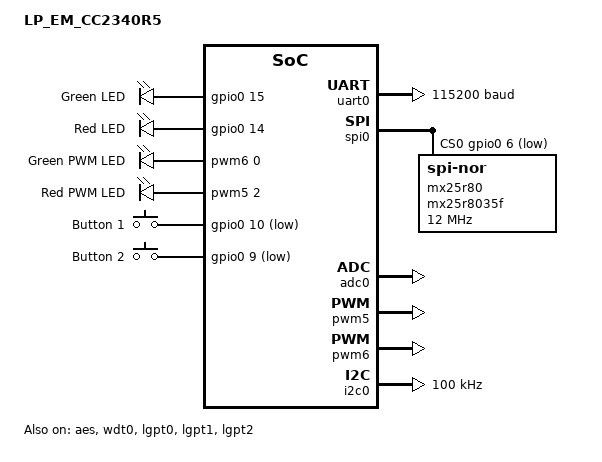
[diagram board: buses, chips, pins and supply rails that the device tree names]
/*
 * Copyright (c) 2024 Texas Instruments Incorporated
 * Copyright (c) 2024 BayLibre, SAS
 *
 * SPDX-License-Identifier: Apache-2.0
 */

/dts-v1/;

#include <ti/cc2340r5.dtsi>
#include "boosterpack_connector.dtsi"
#include "lp_em_cc2340r5-pinctrl.dtsi"
#include <zephyr/dt-bindings/gpio/gpio.h>
#include <zephyr/dt-bindings/pwm/pwm.h>
#include <zephyr/dt-bindings/input/input-event-codes.h>

/ {
	model = "LP_EM_CC2340R5";
	compatible = "ti,lp_em_cc2340r5";

	chosen {
		zephyr,sram = &sram0;
		zephyr,flash = &flash0;
		zephyr,code-partition = &slot0_partition;
		zephyr,console = &uart0;
		zephyr,shell-uart = &uart0;
		zephyr,bt-uart = &uart0;
		zephyr,bt-c2h-uart = &uart0;
		zephyr,uart-mcumgr = &uart0;
	};

	aliases {
		led0 = &led0;
		led1 = &led1;
		sw0 = &btn0;
		sw1 = &btn1;
		watchdog0 = &wdt0;
		pwm-led0 = &pwm_green;
		pwm-led1 = &pwm_red;
		mcuboot-led0 = &led1;
		mcuboot-button0 = &btn1;
	};

	leds {
		compatible = "gpio-leds";

		led0: led_0 {
			gpios = <&gpio0 15 GPIO_ACTIVE_HIGH>;
			label = "Green LED";
		};

		led1: led_1 {
			gpios = <&gpio0 14 GPIO_ACTIVE_HIGH>;
			label = "Red LED";
		};
	};

	pwmleds {
		compatible = "pwm-leds";

		pwm_green: pwm_led_0 {
			pwms = <&pwm6 0 1000 PWM_POLARITY_NORMAL>;
			label = "Green PWM LED";
		};

		pwm_red: pwm_led_1 {
			pwms = <&pwm5 2 1000 PWM_POLARITY_NORMAL>;
			label = "Red PWM LED";
		};
	};

	keys {
		compatible = "gpio-keys";

		btn0: btn_0 {
			gpios = <&gpio0 10 (GPIO_ACTIVE_LOW | GPIO_PULL_UP)>;
			label = "Button 1";
			zephyr,code = <INPUT_KEY_0>;
		};

		btn1: btn_1 {
			gpios = <&gpio0 9 (GPIO_ACTIVE_LOW | GPIO_PULL_UP)>;
			label = "Button 2";
			zephyr,code = <INPUT_KEY_1>;
		};
	};

	lfxosc: lf_xosc {
		compatible = "ti,cc23x0-lf-xosc";
	};

	ti_bt_hci: ti_bt_hci {
		compatible = "ti,bt-hci";
		status = "okay";
	};
};

/delete-node/ &slot0_partition;
&flash0 {
    partitions {
        compatible = "fixed-partitions";
        #address-cells = <1>;
        #size-cells = <1>;

        /* 40 KiB (0xa000) for MCUboot */
        boot_partition: partition@0 {
            label = "mcuboot";
            reg = <0x00000000 0x0000a000>;
        };

        /* 233472 Bytes (0x39000) per slot for application */
        slot0_partition: partition@a000 {
            label = "image-0";
            reg = <0x0000a000 0x00039000>;
        };

        slot1_partition: partition@43000 {
            label = "image-1";
            reg = <0x00043000 0x00039000>;
        };

        /*
         * Storage partition will be used by NVS
         * if enabled.
         */
        storage_partition: partition@7c000 {
            label = "storage";
            reg = <0x0007c000 0x00004000>;
        };
    };
};

&cpu0 {
	clock-frequency = <48000000>;
};

&gpio0 {
	status = "okay";
};

&uart0 {
	status = "okay";
	current-speed = <115200>;
	pinctrl-0 = <&uart0_rx_default &uart0_tx_default>;
	pinctrl-names = "default";
};

&aes {
	status = "okay";
};

&dma {
	status = "okay";
};

&spi0 {
	status = "okay";
	pinctrl-0 = <&spi0_sck_default
		     &spi0_mosi_default
		     &spi0_miso_default
		     &spi0_cs_default>;
	pinctrl-1 = <&spi0_sck_sleep
		     &spi0_mosi_sleep
		     &spi0_miso_sleep
		     &spi0_cs_sleep>;
	pinctrl-names = "default", "sleep";
	cs-gpios = <&gpio0 6 GPIO_ACTIVE_LOW>;
	mx25r80: mx25r8035f@0 {
		compatible = "jedec,spi-nor";
		reg = <0>;
		spi-max-frequency = <12000000>;
		size = <0x800000>;
		jedec-id = [c2 28 14];
		sfdp-bfp = [
			 e5 20 f1 ff  ff ff 7f 00  44 eb 08 6b  08 3b 04 bb
			 ee ff ff ff  ff ff 00 ff  ff ff 00 ff  0c 20 0f 52
			 10 d8 00 ff  23 72 f5 00  82 ed 04 b7  44 83 38 44
			 30 b0 30 b0  f7 c4 d5 5c  00 be 29 ff  f0 d0 ff ff
		];
	};
};

&wdt0 {
	status = "okay";
};

&adc0 {
	status = "okay";
	pinctrl-0 = <&adc0_ch0
		     &adc0_ch2
		     &adc0_ch3
		     &adc0_ch4
		     &adc0_ch6
		     &adc0_ch8>;
	pinctrl-names = "default";
};

&lgpt0 {
	clk-prescale = <32>;
	status = "okay";
};

&lgpt1 {
	clk-prescale = <32>;
	status = "okay";
};

&lgpt2 {
	clk-prescale = <32>;
	status = "okay";
};

&pwm5 {
	pinctrl-0 = <&pwm5_default>;
	pinctrl-names = "default";
	status = "okay";
};

&pwm6 {
	pinctrl-0 = <&pwm6_default>;
	pinctrl-names = "default";
	status = "okay";
};

&i2c0 {
	status = "okay";
	pinctrl-0 = <&i2c0_scl_default
		     &i2c0_sda_default>;
	clock-frequency = <100000>;
	pinctrl-names = "default";
};
